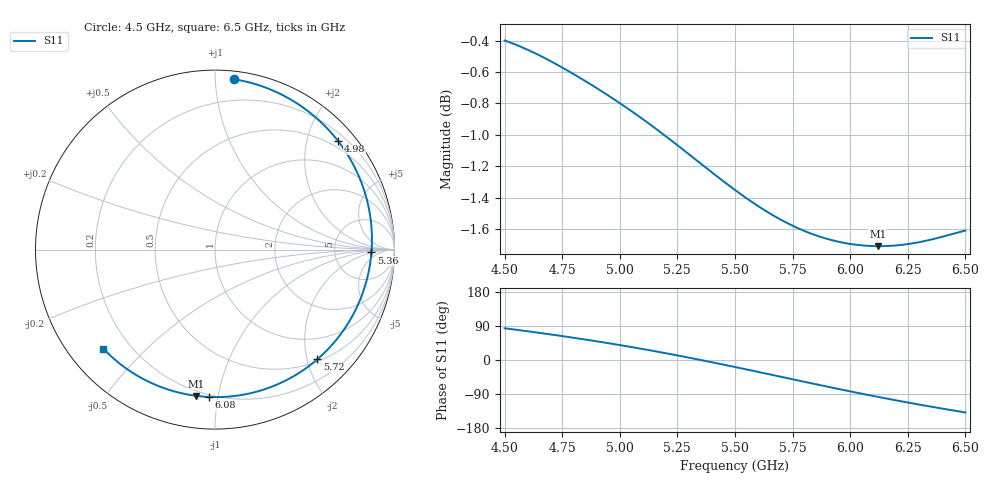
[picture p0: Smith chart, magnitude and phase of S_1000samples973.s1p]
! TOUCHSTONE file generated by CST MICROWAVE STUDIO
! Date and time: Sat Oct 29 23:22:32 2022
! Project name: L.cst
! Parameters = {Di=1.27; Epsilon_r=1.56; InnerDiameter=1.27; Length=2; Lf=10; Lg=60; OuterConductorThickness=0.2921; OuterDiameter=3.6; Wf=3; Wp=41.2; de=1.5; df=6.8; g=0.8; gx=3.44117; gy=1.60412; h=2.34; hf=1.524; px=9.21579; py=8.37808; w=9.7; wx=5.77462; wy=6.77396}
! Header version: 2018
! Port assignment regex: !\s*Touchstone port\s*([0-9]+)\s*=\s*(CST MWS port|CST DS port)\s*([0-9]+|Zmin|Zmax)\s*\(\"(.*)\"\)(\s*mode\s*([0-9]+))?.*
! Touchstone port assignment:
! Touchstone port 1 = CST MWS port 1 ("")
# GHz S DB R 50
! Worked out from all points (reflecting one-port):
!   101 points, 4.5 GHz to 6.5 GHz, reference 50 ohm
!   lowest |S11| = -1.7 dB at 6.12 GHz (marker M1), VSWR 10.21, Z = 8.63 - j43.3 ohm
!   phase of S11 starts at 84 deg and turns -222 deg over the sweep
!   S11 on the Smith chart (normalised r, x): 4.5 GHz: 0.05, +1.11; 4.98 GHz: 0.35, +2.61; 5.36 GHz: 14, -2; 5.72 GHz: 0.54, -2.19; 6.08 GHz: 0.19, -0.94; 6.5 GHz: 0.11, -0.38
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4.5  -0.40 83.7
4.58  -0.45 77.4
4.64  -0.49 72.5
4.76  -0.58 62.2
4.88  -0.68 51.2
4.98  -0.78 41.4
5  -0.80 39.4
5.08  -0.88 31.0
5.14  -0.94 24.5
5.2  -1.01 17.8
5.26  -1.08 10.9
5.36  -1.19 -1.1
5.42  -1.26 -8.4
5.5  -1.35 -18.5
5.6  -1.45 -31.3
5.66  -1.51 -39.1
5.72  -1.56 -47.0
5.76  -1.58 -52.2
5.82  -1.62 -59.9
5.88  -1.65 -67.7
5.94  -1.68 -75.3
6  -1.69 -82.8
6.08  -1.71 -92.5
6.12  -1.71 -97.3
6.18  -1.70 -104.3
6.26  -1.69 -113.3
6.38  -1.65 -126.2
6.5  -1.61 -138.4
